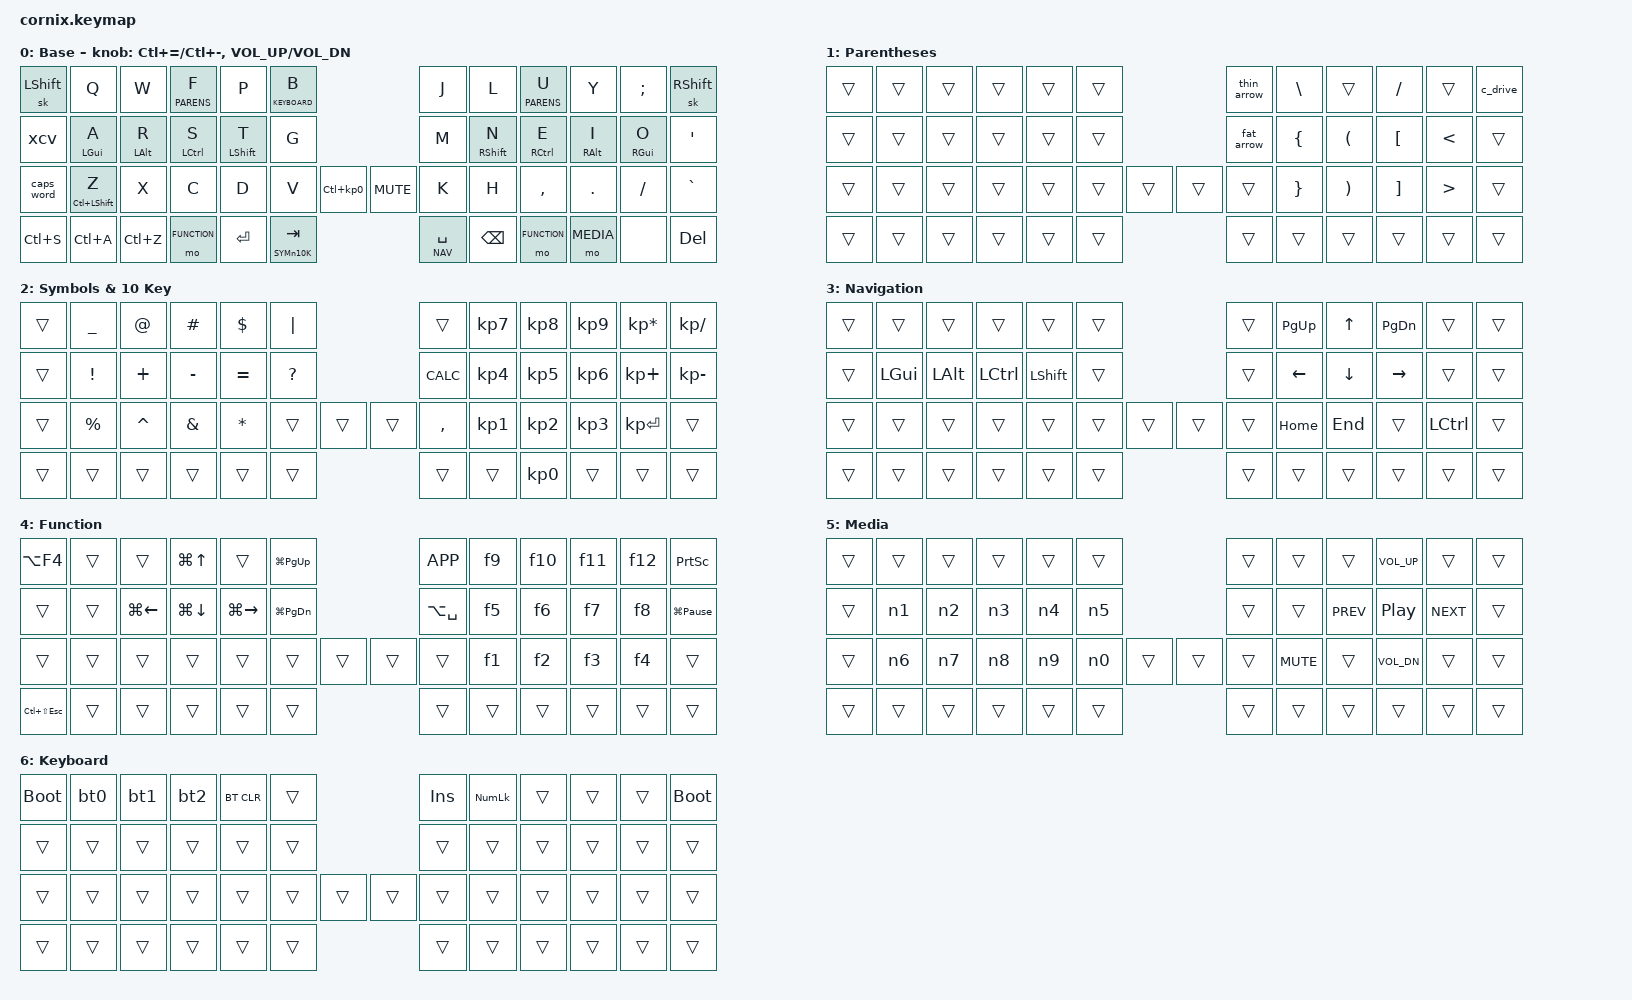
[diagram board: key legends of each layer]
/*
 * Copyright (c) 2020 The ZMK Contributors
 *
 * SPDX-License-Identifier: MIT
 */

#include "zmk-helpers/helper.h"
#include "includes/cornix54.h"
#include <behaviors.dtsi>
#include <dt-bindings/zmk/bt.h>
#include <dt-bindings/zmk/keys.h>

// Layers
#define BASE     0
#define PARENS   1
#define SYMn10K  2
#define NAV      3
#define FUNCTION 4
#define MEDIA    5
#define KEYBOARD 6

// https://github.com/urob/zmk-config/tree/main#timeless-homerow-mods

#define KEYS_L LT0 LT1 LT2 LT3 LT4 LT5 LM0 LM1 LM2 LM3 LM4 LM5 LB0 LB1 LB2 LB3 LB4 LB5
#define KEYS_R RT0 RT1 RT2 RT3 RT4 RT5 RM0 RM1 RM2 RM3 RM4 RM5 RB0 RB1 RB2 RB3 RB4 RB5
#define KEYS_LB LH3 LH4 LH5
#define KEYS_RB RH3 RH4 RH5
#define THUMBS LH0 LH1 LH2 RH0 RH1 RH2
#define ENCODERS LEC REC

#define ZMK_POINTING_DEFAULT_SCRL_VAL 15

#include <behaviors.dtsi>
#include <dt-bindings/zmk/bt.h>
#include <dt-bindings/zmk/ext_power.h>
#include <dt-bindings/zmk/keys.h>
#include <dt-bindings/zmk/pointing.h>

&sk {
    quick-release;
    lazy;
};

/ {
    behaviors {
        hml: homerow_mods_left {
            compatible = "zmk,behavior-hold-tap";
            #binding-cells = <2>;
            bindings = <&kp>, <&kp>;
            flavor = "balanced";
            tapping-term-ms = <200>;
            // quick-tap-ms = <200>;
            // require-prior-idle-ms = <70>;
            // hold-trigger-key-positions = <KEYS_R KEYS_T>;
            // hold-trigger-on-release;
        };

        hmr: homerow_mods_right {
            compatible = "zmk,behavior-hold-tap";
            #binding-cells = <2>;
            bindings = <&kp>, <&kp>;
            flavor = "balanced";
            tapping-term-ms = <200>;
            // quick-tap-ms = <200>;
            // require-prior-idle-ms = <70>;
            // hold-trigger-key-positions = <KEYS_L KEYS_T>;
            // hold-trigger-on-release;
        };

        lt_tab: layer_tap_tab {
            compatible = "zmk,behavior-hold-tap";
            #binding-cells = <2>;
            bindings = <&mo>, <&kp>;
            flavor = "hold-preferred";
            tapping-term-ms = <200>;
        };

        xcv: tap_dance_clipboard {
            compatible = "zmk,behavior-tap-dance";
            #binding-cells = <0>;
            bindings = <&mt LC(C) LC(V)>, <&mt LC(X) LC(LS(V))>;
            tapping-term-ms = <150>;
        };

        #define FUNCTION_KEY(name, key, ...) \
        name: name { \
            compatible = "zmk,behavior-tap-dance"; \
            #binding-cells = <0>; \
            bindings = <&mt LC(key) key>, <&mt LS(key) LA(key)>; \
            tapping-term-ms = <200>; \
            __VA_ARGS__ \
        };
        FUNCTION_KEY(f1, F1)
        FUNCTION_KEY(f2, F2)
        FUNCTION_KEY(f3, F3)
        FUNCTION_KEY(f4, F4)
        FUNCTION_KEY(f5, F5)
        FUNCTION_KEY(f6, F6)
        FUNCTION_KEY(f7, F7)
        FUNCTION_KEY(f8, F8)
        FUNCTION_KEY(f9, F9)
        FUNCTION_KEY(f10, F10)
        FUNCTION_KEY(f11, F11)
        FUNCTION_KEY(f12, F12)

        #define NUMBER_ROW_KEY(name, key, ...) \
        name: name { \
            compatible = "zmk,behavior-tap-dance"; \
            #binding-cells = <0>; \
            bindings = <&mt LC(key) LG(key)>, <&kp LG(LC(LS(key)))>; \
            tapping-term-ms = <200>; \
            __VA_ARGS__ \
        };
        NUMBER_ROW_KEY(n1, N1)
        NUMBER_ROW_KEY(n2, N2)
        NUMBER_ROW_KEY(n3, N3)
        NUMBER_ROW_KEY(n4, N4)
        NUMBER_ROW_KEY(n5, N5)
        NUMBER_ROW_KEY(n6, N6)
        NUMBER_ROW_KEY(n7, N7)
        NUMBER_ROW_KEY(n8, N8)
        NUMBER_ROW_KEY(n9, N9)
        NUMBER_ROW_KEY(n0, N0)

        #define BLUETOOTH_KEY(name, profile, ...) \
        name: name { \
            compatible = "zmk,behavior-tap-dance"; \
            #binding-cells = <0>; \
            bindings = <&bt BT_SEL profile>, <&bt BT_DISC profile>; \
            tapping-term-ms = <200>; \
            __VA_ARGS__ \
        };
        BLUETOOTH_KEY(bt0, 0)
        BLUETOOTH_KEY(bt1, 1)
        BLUETOOTH_KEY(bt2, 2)
    };

    macros {
        ZMK_MACRO(thin_arrow,
            bindings = <&kp MINUS>, <&kp GT>;
        )

        ZMK_MACRO(fat_arrow,
            bindings = <&kp SPACE>, <&kp EQUAL>, <&kp GT>, <&kp SPACE>;
        )

        ZMK_MACRO(c_drive,
            bindings = <&kp LS(C)>, <&kp COLON>, <&kp BSLH>;
        )
    };

    combos {
        compatible = "zmk,combos";

        escape {
            bindings = <&kp ESC>;
            key-positions = <LT2 LT3>;
            layers = <BASE>;
            require-prior-idle-ms = <100>;
        };

        question {
            bindings = <&kp QUESTION>;
            key-positions = <RB2 RB3>;
            layers = <BASE>;
        };

        caps_lock {
            bindings = <&kp CAPSLOCK>;
            key-positions = <LT5 RT5>;
            layers = <BASE>;
        };

        kp_dot {
            bindings = <&kp KP_DOT>;
            key-positions = <RB2 RB3>;
            layers = <SYMn10K>;
            require-prior-idle-ms = <100>;
        };

        kp_colon {
            bindings = <&kp COLON>;
            key-positions = <RB1 RB2>;
            layers = <SYMn10K>;
            require-prior-idle-ms = <100>;
        };
    };

    keymap {
        compatible = "zmk,keymap";

        default_layer {
            display-name = "Base";
            bindings = <
&sk LSHIFT  &kp Q             &kp W        &lt PARENS F  &kp P         &lt KEYBOARD B                                &kp J          &kp L          &lt PARENS U  &kp Y         &kp SEMI     &sk RSHIFT
&xcv        &hml LGUI A       &hml LALT R  &hml LCTRL S  &hml LSHFT T  &kp G                                         &kp M          &hmr RSHFT N   &hmr RCTRL E  &hmr RALT I   &hmr RGUI O  &kp SQT
&caps_word  &hml LC(LSHFT) Z  &kp X        &kp C         &kp D         &kp V        &kp LC(KP_N0)     &kp C_MUTE     &kp K          &kp H          &kp COMMA     &kp DOT       &kp FSLH     &kp GRAVE
&kp LC(S)   &kp LC(A)         &kp LC(Z)                  &mo FUNCTION  &kp ENTER    &lt_tab SYMn10K TAB  &lt NAV SPACE  &kp BACKSPACE  &mo FUNCTION                 &mo MEDIA     &none        &kp DEL
            >;
            sensor-bindings =
                <&inc_dec_kp LC(EQUAL) LC(MINUS)>,
                <&inc_dec_kp C_VOL_UP C_VOL_DN>;
        };

        parens {
            display-name = "Parentheses";
            bindings = <
                &trans  &trans  &trans  &trans  &trans  &trans                  &thin_arrow  &kp BSLH         &trans                 &kp FSLH           &trans  &c_drive
                &trans  &trans  &trans  &trans  &trans  &trans                  &fat_arrow   &kp LEFT_BRACE   &kp LEFT_PARENTHESIS   &kp LEFT_BRACKET   &kp LT  &trans
                &trans  &trans  &trans  &trans  &trans  &trans  &trans  &trans  &trans       &kp RIGHT_BRACE  &kp RIGHT_PARENTHESIS  &kp RIGHT_BRACKET  &kp GT  &trans
                &trans  &trans  &trans          &trans  &trans  &trans  &trans  &trans       &trans                                  &trans             &trans  &trans
            >;
        };

        symbols_and_10_key {
            display-name = "Symbols & 10 Key";
            bindings = <
                &trans  &kp UNDER        &kp AT     &kp HASH       &kp DOLLAR    &kp PIPE                      &trans      &kp KP_N7  &kp KP_N8  &kp KP_N9  &kp KP_MULTIPLY  &kp KP_DIVIDE
                &trans  &kp EXCLAMATION  &kp PLUS   &kp MINUS      &kp EQUAL     &kp QUESTION                  &kp K_CALC  &kp KP_N4  &kp KP_N5  &kp KP_N6  &kp KP_PLUS      &kp KP_MINUS
                &trans  &kp PERCENT      &kp CARET  &kp AMPERSAND  &kp ASTERISK  &trans        &trans  &trans  &kp COMMA   &kp KP_N1  &kp KP_N2  &kp KP_N3  &kp KP_ENTER     &trans
                &trans  &trans           &trans                    &trans        &trans        &trans  &trans  &trans      &kp KP_N0             &trans     &trans           &trans
            >;
        };

        navigation {
            display-name = "Navigation";
            bindings = <
                &trans  &trans    &trans    &trans     &trans     &trans                  &trans   &kp PG_UP  &kp UP    &kp PG_DN  &trans     &trans
                &trans  &kp LGUI  &kp LALT  &kp LCTRL  &kp LSHFT  &trans                  &trans   &kp LEFT   &kp DOWN  &kp RIGHT  &trans     &trans
                &trans  &trans    &trans    &trans     &trans     &trans  &trans  &trans  &trans   &kp HOME   &kp END   &trans     &kp LCTRL  &trans
                &trans  &trans    &trans               &trans     &trans  &trans  &trans  &trans   &trans               &trans     &trans     &trans
            >;
        };

        function {
            display-name = "Function";
            bindings = <
                &kp LA(F4)       &trans  &trans        &kp LG(UP)    &trans         &kp LG(PG_UP)                  &kp K_APP      &f9     &f10  &f11    &f12    &kp PRINTSCREEN
                &trans           &trans  &kp LG(LEFT)  &kp LG(DOWN)  &kp LG(RIGHT)  &kp LG(PG_DN)                  &kp LA(SPACE)  &f5     &f6   &f7     &f8     &kp LG(PAUSE_BREAK)
                &trans           &trans  &trans        &trans        &trans         &trans         &trans  &trans  &trans         &f1     &f2   &f3     &f4     &trans
                &kp LC(LS(ESC))  &trans  &trans                      &trans         &trans         &trans  &trans  &trans         &trans        &trans  &trans  &trans
            >;
        };

        media {
            display-name = "Media";
            bindings = <
                &trans  &trans  &trans  &trans  &trans  &trans                  &trans  &trans      &trans      &kp C_VOL_UP  &trans      &trans
                &trans  &n1     &n2     &n3     &n4     &n5                     &trans  &trans      &kp C_PREV  &kp C_PP      &kp C_NEXT  &trans
                &trans  &n6     &n7     &n8     &n9     &n0     &trans  &trans  &trans  &kp C_MUTE  &trans      &kp C_VOL_DN  &trans      &trans
                &trans  &trans  &trans          &trans  &trans  &trans  &trans  &trans  &trans                  &trans        &trans      &trans
            >;
        };

        keyboard {
            display-name = "Keyboard";
            bindings = <
                &bootloader  &bt0    &bt1    &bt2    &bt BT_CLR  &trans                  &kp INSERT  &kp KP_NUMLOCK  &trans  &trans  &trans  &bootloader
                &trans       &trans  &trans  &trans  &trans      &trans                  &trans      &trans          &trans  &trans  &trans  &trans
                &trans       &trans  &trans  &trans  &trans      &trans  &trans  &trans  &trans      &trans          &trans  &trans  &trans  &trans
                &trans       &trans  &trans          &trans      &trans  &trans  &trans  &trans      &trans                  &trans  &trans  &trans
            >;
        };

        // template {
        //     display-name = "Template";
        //     bindings = <
        //         &trans  &trans  &trans  &trans  &trans  &trans                  &trans  &trans  &trans  &trans  &trans  &trans
        //         &trans  &trans  &trans  &trans  &trans  &trans                  &trans  &trans  &trans  &trans  &trans  &trans
        //         &trans  &trans  &trans  &trans  &trans  &trans  &trans  &trans  &trans  &trans  &trans  &trans  &trans  &trans
        //         &trans  &trans  &trans          &trans  &trans  &trans  &trans  &trans  &trans          &trans  &trans  &trans
        //     >;
        // };
    };
};
